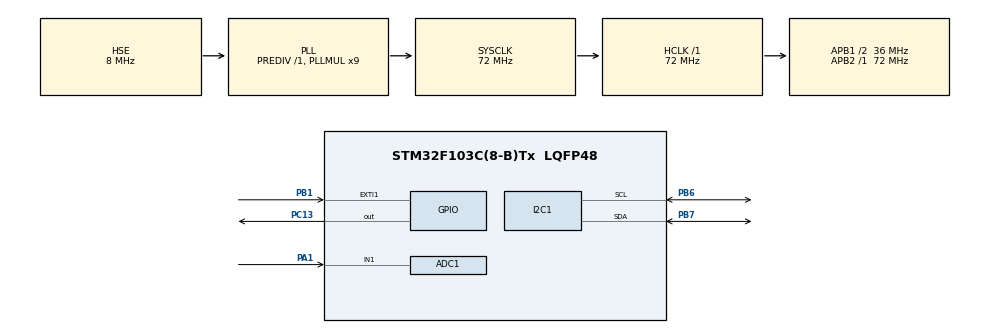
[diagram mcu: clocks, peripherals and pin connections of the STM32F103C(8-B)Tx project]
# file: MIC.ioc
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ADC1.Channel-0\#ChannelRegularConversion=ADC_CHANNEL_1
ADC1.ContinuousConvMode=ENABLE
ADC1.ExternalTrigConv=ADC_SOFTWARE_START
ADC1.NbrOfConversionFlag=1
ADC1.SamplingTime-0\#ChannelRegularConversion=ADC_SAMPLETIME_1CYCLE_5
ADC1.master=1
Dma.ADC1.0.Direction=DMA_PERIPH_TO_MEMORY
Dma.ADC1.0.Instance=DMA1_Channel1
Dma.ADC1.0.MemDataAlignment=DMA_MDATAALIGN_HALFWORD
Dma.ADC1.0.MemInc=DMA_MINC_ENABLE
Dma.ADC1.0.Mode=DMA_NORMAL
Dma.ADC1.0.PeriphDataAlignment=DMA_PDATAALIGN_HALFWORD
Dma.ADC1.0.PeriphInc=DMA_PINC_DISABLE
Dma.ADC1.0.Priority=DMA_PRIORITY_MEDIUM
Dma.Request0=ADC1
Mcu.Family=STM32F1
Mcu.Name=STM32F103C(8-B)Tx
Mcu.Package=LQFP48
NVIC.ADC1_2_IRQn=true\:0\:0\:false\:false\:true\:true\:true\:true
NVIC.DMA1_Channel1_IRQn=true\:0\:0\:false\:false\:true\:false\:true\:true
NVIC.EXTI1_IRQn=true\:0\:0\:false\:false\:true\:true\:true\:true
NVIC.PriorityGroup=NVIC_PRIORITYGROUP_4
NVIC.TIM3_IRQn=true\:0\:0\:false\:false\:true\:true\:true\:true
NVIC.TIM4_IRQn=true\:0\:0\:false\:false\:true\:true\:true\:true
PA1.Signal=ADCx_IN1
PA13.Mode=Serial_Wire
PA13.Signal=SYS_JTMS-SWDIO
PA14.Mode=Serial_Wire
PA14.Signal=SYS_JTCK-SWCLK
PB1.GPIO_PuPd=GPIO_PULLDOWN
PB1.Signal=GPXTI1
PB6.Mode=I2C
PB6.Signal=I2C1_SCL
PB7.Mode=I2C
PB7.Signal=I2C1_SDA
PC13-TAMPER-RTC.GPIO_ModeDefaultOutputPP=GPIO_MODE_OUTPUT_PP
PC13-TAMPER-RTC.GPIO_PuPd=GPIO_NOPULL
PC13-TAMPER-RTC.Signal=GPIO_Output
PD0-OSC_IN.Mode=HSE-External-Oscillator
PD0-OSC_IN.Signal=RCC_OSC_IN
PD1-OSC_OUT.Mode=HSE-External-Oscillator
PD1-OSC_OUT.Signal=RCC_OSC_OUT
ProjectManager.HeapSize=0x200
ProjectManager.StackSize=0x400
ProjectManager.TargetToolchain=MDK-ARM V5.32
RCC.ADCPresc=RCC_ADCPCLK2_DIV6
RCC.AHBFreq_Value=72000000
RCC.APB1CLKDivider=RCC_HCLK_DIV2
RCC.APB1Freq_Value=36000000
RCC.APB1TimFreq_Value=72000000
RCC.APB2Freq_Value=72000000
RCC.APB2TimFreq_Value=72000000
RCC.HCLKFreq_Value=72000000
RCC.PLLMUL=RCC_PLL_MUL9
RCC.PLLSourceVirtual=RCC_PLLSOURCE_HSE
RCC.SYSCLKFreq_VALUE=72000000
RCC.SYSCLKSource=RCC_SYSCLKSOURCE_PLLCLK
RCC.USBFreq_Value=72000000
SH.ADCx_IN1.0=ADC1_IN1,IN1
TIM3.AutoReloadPreload=TIM_AUTORELOAD_PRELOAD_DISABLE
TIM3.Period=1632
TIM3.TIM_MasterOutputTrigger=TIM_TRGO_UPDATE
TIM4.AutoReloadPreload=TIM_AUTORELOAD_PRELOAD_ENABLE
TIM4.Period=9999
TIM4.Prescaler=7
VP_TIM3_VS_ClockSourceINT.Mode=Internal
VP_TIM3_VS_ClockSourceITR.Mode=TriggerSource_ITR0
VP_TIM4_VS_ClockSourceINT.Mode=Internal
board=custom

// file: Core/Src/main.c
/* USER CODE BEGIN Header */
/**
  ******************************************************************************
  * @file           : main.c
  * @brief          : Main program body
  ******************************************************************************
  * @attention
  *
  * Copyright (c) 2025 STMicroelectronics.
  * All rights reserved.
  *
  * This software is licensed under terms that can be found in the LICENSE file
  * in the root directory of this software component.
  * If no LICENSE file comes with this software, it is provided AS-IS.
  *
  ******************************************************************************
  */
/* USER CODE END Header */
#include "main.h"
#include "adc.h"
#include "dma.h"
#include "i2c.h"
#include "tim.h"
#include "gpio.h"

/* USER CODE BEGIN Includes */
#include "key.h"
#include "OLED.h"
#include "stm32_dsp.h"
#include "math.h"
/* USER CODE END Includes */

/* USER CODE BEGIN PV */
uint8_t mode=0;				//模式位

uint8_t data_ready=0;		//数据就位标志
uint8_t data_index=0;		//ADC缓存数组下标
uint8_t data_select=0;		//FFT运算数组下标

int16_t AD_Value_buf[2][256]; // ADC双缓冲区
uint32_t lBufOutArray[256]; // FFT 运算的输出数组
uint32_t dr;				//波形显示变量
uint32_t i=0;
/* USER CODE END PV */

void SystemClock_Config(void);

int main(void)
{

  /* MCU Configuration--------------------------------------------------------*/

  /* Reset of all peripherals, Initializes the Flash interface and the Systick. */
  HAL_Init();

  /* Configure the system clock */
  SystemClock_Config();

  /* Initialize all configured peripherals */
  MX_GPIO_Init();
  MX_DMA_Init();
  MX_I2C1_Init();
  MX_TIM4_Init();
  MX_ADC1_Init();
  MX_TIM3_Init();
  /* USER CODE BEGIN 2 */
	OLED_Init();
	OLED_Clear();
	HAL_ADC_Init(&hadc1);
	HAL_ADC_Start(&hadc1);
  /* USER CODE END 2 */

  /* Infinite loop */
  /* USER CODE BEGIN WHILE */
  while (1)
  {
	  if(mode==0)			//谐波显示模式
	{
		if(i>127){i=0;OLED_Update();OLED_Clear();}
		dr=HAL_ADC_GetValue(&hadc1);
		OLED_DrawPoint(i,(float)dr/4095*63);
		i++;
	}
	else if(mode==1 || data_ready == 1)//频谱显示模式
	{
		data_ready=0;
		data_select=(data_index+1)/2;

		cr4_fft_256_stm32(lBufOutArray, AD_Value_buf[data_select], 256);

		int16_t real, imag;
		int magnitude[64];  // 存储幅值结果（只取前64个频率点，适配OLED显示）

		// 计算1~63号频率点的幅值
		for (i = 1; i < 64; i++)
		{
			real = (lBufOutArray[i] << 16) >> 16;  // 提取实部（低16位）
			imag = (lBufOutArray[i] >> 16);        // 提取虚部（高16位）
			// 计算幅值（简化版，sqrt(real² + imag²)，并做缩放适配OLED显示）
			magnitude[i] = ((int)sqrt(real * real + imag * imag) >> 3) + 2;
		}

		// 单独处理0号频率点（直流分量）
		real = (lBufOutArray[0] << 16) >> 16;
		imag = (lBufOutArray[0] >> 16);
		magnitude[0] = (int)sqrt(real * real + imag * imag) >> 8;  //低频受直流分量影响过高，降低使画面平缓

		for(i = 0; i < 64; i++)
		{
			OLED_DrawLine(i*2,63,i*2,(63-magnitude[i]));
			OLED_DrawLine((i*2+1),63,(i*2+1),(63-magnitude[i]));
		}
		OLED_Update();
		OLED_Clear();
	}

    /* USER CODE END WHILE */

  }
}

void SystemClock_Config(void)
{
  RCC_OscInitTypeDef RCC_OscInitStruct = {0};
  RCC_ClkInitTypeDef RCC_ClkInitStruct = {0};
  RCC_PeriphCLKInitTypeDef PeriphClkInit = {0};

  /** Initializes the RCC Oscillators according to the specified parameters
  * in the RCC_OscInitTypeDef structure.
  */
  RCC_OscInitStruct.OscillatorType = RCC_OSCILLATORTYPE_HSE;
  RCC_OscInitStruct.HSEState = RCC_HSE_ON;
  RCC_OscInitStruct.HSEPredivValue = RCC_HSE_PREDIV_DIV1;
  RCC_OscInitStruct.HSIState = RCC_HSI_ON;
  RCC_OscInitStruct.PLL.PLLState = RCC_PLL_ON;
  RCC_OscInitStruct.PLL.PLLSource = RCC_PLLSOURCE_HSE;
  RCC_OscInitStruct.PLL.PLLMUL = RCC_PLL_MUL9;
  if (HAL_RCC_OscConfig(&RCC_OscInitStruct) != HAL_OK)
  {
    Error_Handler();
  }

  /** Initializes the CPU, AHB and APB buses clocks
  */
  RCC_ClkInitStruct.ClockType = RCC_CLOCKTYPE_HCLK|RCC_CLOCKTYPE_SYSCLK
                              |RCC_CLOCKTYPE_PCLK1|RCC_CLOCKTYPE_PCLK2;
  RCC_ClkInitStruct.SYSCLKSource = RCC_SYSCLKSOURCE_PLLCLK;
  RCC_ClkInitStruct.AHBCLKDivider = RCC_SYSCLK_DIV1;
  RCC_ClkInitStruct.APB1CLKDivider = RCC_HCLK_DIV2;
  RCC_ClkInitStruct.APB2CLKDivider = RCC_HCLK_DIV1;

  if (HAL_RCC_ClockConfig(&RCC_ClkInitStruct, FLASH_LATENCY_2) != HAL_OK)
  {
    Error_Handler();
  }
  PeriphClkInit.PeriphClockSelection = RCC_PERIPHCLK_ADC;
  PeriphClkInit.AdcClockSelection = RCC_ADCPCLK2_DIV6;
  if (HAL_RCCEx_PeriphCLKConfig(&PeriphClkInit) != HAL_OK)
  {
    Error_Handler();
  }
}

/* USER CODE BEGIN 4 */
void HAL_ADC_ConvCpltCallback(ADC_HandleTypeDef* hadc)
{
  if (hadc == &hadc1)
	{
		data_ready=1;
		data_index=(data_index+1)/2;
		HAL_ADC_Start_DMA(&hadc1, (uint32_t*)AD_Value_buf[data_index], 256);
	}
}

void HAL_TIM_PeriodElapsedCallback(TIM_HandleTypeDef *htim)
{
	if(htim==&htim4)
	{
		HAL_TIM_Base_Stop_IT(&htim4);
		if(HAL_GPIO_ReadPin(GPIOB,GPIO_PIN_1)==GPIO_PIN_SET)
		{
			HAL_GPIO_TogglePin(GPIOC,GPIO_PIN_13);
			if(mode==0)
			{
				mode=1;											//频谱模式
				ADC_ChannelConfTypeDef sConfig = {0};
				sConfig.Rank = ADC_REGULAR_RANK_1;
				sConfig.SamplingTime = ADC_SAMPLETIME_239CYCLES_5;//固定最大采样时间，确保采样精度

				hadc1.Init.ContinuousConvMode = DISABLE;			//关闭连续转换
				hadc1.Init.ExternalTrigConv = ADC_EXTERNALTRIGCONV_T3_TRGO;//定时器事件触发
				HAL_ADC_Init(&hadc1);

				HAL_TIM_Base_Start_IT(&htim3);
				HAL_ADC_Start_DMA(&hadc1, (uint32_t*)AD_Value_buf[1], 256);
			}
			else
			{
				mode=0;											//谐波模式
				ADC_ChannelConfTypeDef sConfig = {0};
				sConfig.Rank = ADC_REGULAR_RANK_1;
				sConfig.SamplingTime = ADC_SAMPLETIME_1CYCLE_5;//选择最小通道采样时间，提高最大可见频率

				hadc1.Init.ContinuousConvMode = ENABLE;			//开启连续转换模式
				hadc1.Init.ExternalTrigConv = ADC_SOFTWARE_START;//软件触发采样
				HAL_ADC_Init(&hadc1);

				HAL_TIM_Base_Stop_IT(&htim3);
				HAL_ADC_Start(&hadc1);
			}
		}
	}
}
/* USER CODE END 4 */

void Error_Handler(void)
{
  __disable_irq();
  while (1)
  {
  }
}
